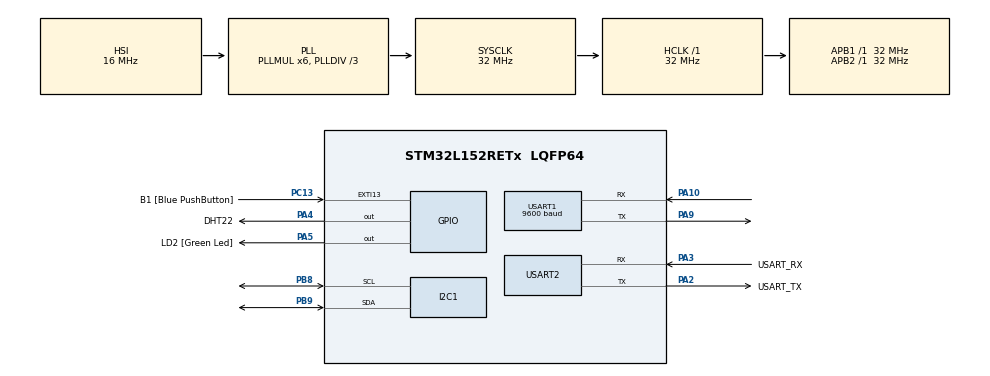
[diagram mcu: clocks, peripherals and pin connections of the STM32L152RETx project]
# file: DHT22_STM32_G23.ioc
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Mcu.Family=STM32L1
Mcu.Name=STM32L152RETx
Mcu.Package=LQFP64
NVIC.PriorityGroup=NVIC_PRIORITYGROUP_0
PA10.Mode=Asynchronous
PA10.Signal=USART1_RX
PA13.GPIO_Label=TMS
PA13.Mode=Serial_Wire
PA13.Signal=SYS_JTMS-SWDIO
PA14.GPIO_Label=TCK
PA14.Mode=Serial_Wire
PA14.Signal=SYS_JTCK-SWCLK
PA2.GPIO_Label=USART_TX
PA2.Mode=Asynchronous
PA2.Signal=USART2_TX
PA3.GPIO_Label=USART_RX
PA3.Mode=Asynchronous
PA3.Signal=USART2_RX
PA4.GPIO_Label=DHT22
PA4.Signal=GPIO_Output
PA5.GPIO_Label=LD2 [Green Led]
PA5.Signal=GPIO_Output
PA9.Mode=Asynchronous
PA9.Signal=USART1_TX
PB3.GPIO_Label=SWO
PB3.Signal=SYS_JTDO-TRACESWO
PB8.Mode=I2C
PB8.Signal=I2C1_SCL
PB9.Mode=I2C
PB9.Signal=I2C1_SDA
PC13-WKUP2.GPIO_Label=B1 [Blue PushButton]
PC13-WKUP2.Signal=GPXTI13
PC14-OSC32_IN.Mode=LSE-External-Oscillator
PC14-OSC32_IN.Signal=RCC_OSC32_IN
PC15-OSC32_OUT.Mode=LSE-External-Oscillator
PC15-OSC32_OUT.Signal=RCC_OSC32_OUT
PH0-OSC_IN.Mode=HSE-External-Oscillator
PH0-OSC_IN.Signal=RCC_OSC_IN
PH1-OSC_OUT.Mode=HSE-External-Oscillator
PH1-OSC_OUT.Signal=RCC_OSC_OUT
ProjectManager.HeapSize=0x200
ProjectManager.StackSize=0x400
ProjectManager.TargetToolchain=STM32CubeIDE
RCC.48MHZClocksFreq_Value=48000000
RCC.AHBFreq_Value=32000000
RCC.APB1Freq_Value=32000000
RCC.APB1TimFreq_Value=32000000
RCC.APB2Freq_Value=32000000
RCC.APB2TimFreq_Value=32000000
RCC.HCLKFreq_Value=32000000
RCC.HSE_VALUE=8000000
RCC.HSI_VALUE=16000000
RCC.MSI_VALUE=2097000
RCC.PLLDIV=RCC_PLL_DIV3
RCC.PLLMUL=RCC_PLL_MUL6
RCC.RTCClockSelectionVirtual=RCC_RTCCLKSOURCE_LSE
RCC.SYSCLKFreq_VALUE=32000000
RCC.SYSCLKSource=RCC_SYSCLKSOURCE_PLLCLK
RCC.USBOutput=48000000
RCC.VCOOutputFreq_Value=96000000
TIM2.Prescaler=32-1
USART1.BaudRate=9600
USART1.VirtualMode=VM_ASYNC
USART2.VirtualMode=VM_ASYNC
VP_TIM2_VS_ClockSourceINT.Mode=Internal
board=NUCLEO-L152RE

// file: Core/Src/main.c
/* USER CODE BEGIN Header */
/**
  ******************************************************************************
  * @file           : main.c
  * @brief          : Main program body
  ******************************************************************************
  * @attention
  *
  * Copyright (c) 2024 STMicroelectronics.
  * All rights reserved.
  *
  * This software is licensed under terms that can be found in the LICENSE file
  * in the root directory of this software component.
  * If no LICENSE file comes with this software, it is provided AS-IS.
  *
  ******************************************************************************
  */
/* USER CODE END Header */
#include "main.h"
#include "i2c.h"
#include "tim.h"
#include "usart.h"
#include "gpio.h"

/* USER CODE BEGIN Includes */
#include "calcule.h" // Inclusion de la bibliothèque pour la communication avec le capteur
#include "delay.h" // Inclusion de la bibliothèque pour les retards en microsecondes
#include<lib_lcd.h>
#include"stdio.h"
#include <string.h>

/* USER CODE END Includes */

/* USER CODE BEGIN PTD */
static rgb_lcd lcdData;

/* USER CODE END PTD */

/* USER CODE BEGIN PV */
float Temperature = 0, Humidite = 0; // Variables pour stocker la température et l'humidité
uint16_t RH = 0, TEMP = 0; // Variables pour les valeurs brutes du capteur
uint8_t dataH1;
uint8_t dataH2;
uint8_t dataT1;
uint8_t dataT2;
uint8_t SUM;
uint8_t check;
char bufRH[30]; // Pour stocker la valeur de l'humidité
char bufT[30]; // Pour stocker la valeur de la température
/* USER CODE END PV */

void SystemClock_Config(void);
/* USER CODE BEGIN PFP */
void UART_TransmitTemperature(float Temperature);
void UART_TransmitHummidity(float Humidite );
void UART_Init(void);
/* USER CODE END PFP */

/* USER CODE BEGIN 0 */

void UART_TransmitTemperature(float Temperature ) {
        sprintf(bufT, "Temperature: %.2f C\t", Temperature);
        HAL_UART_Transmit(&huart2, (uint8_t*)bufT, strlen(bufT), HAL_MAX_DELAY);
        //HAL_UART_Transmit(&huart1, (uint8_t*)bufT, strlen(bufT), HAL_MAX_DELAY);
    }
    void UART_TransmitHummidity(float Humidite ) {
            sprintf(bufRH, "Humidity: %.2f %%\r\n", Humidite);
            HAL_UART_Transmit(&huart2, (uint8_t*)bufRH, strlen(bufRH), HAL_MAX_DELAY);
          //  HAL_UART_Transmit(&huart1, (uint8_t*)bufRH, strlen(bufRH), HAL_MAX_DELAY);
        }
/* USER CODE END 0 */

int main(void)
{

  /* MCU Configuration--------------------------------------------------------*/

  /* Reset of all peripherals, Initializes the Flash interface and the Systick. */
  HAL_Init();

  /* Configure the system clock */
  SystemClock_Config();

  /* Initialize all configured peripherals */
  MX_GPIO_Init();
  MX_USART2_UART_Init();
  MX_TIM2_Init();
  MX_I2C1_Init();
  MX_USART1_UART_Init();
  /* USER CODE BEGIN 2 */
  lcd_init(&hi2c1, &lcdData); // Initialisation du LCD
   DWT_Delay_Init(); // Initialisation des retards

   lcd_position(&hi2c1,0,0); // Positionnement du curseur LCD
   lcd_print(&hi2c1,"Bonjour!!"); // Affichage d'un message sur le LCD
   reglagecouleur(0,0,255); // Réglage de la couleur

   HAL_Delay(3000); // Pause de 3 secondes

  /* USER CODE END 2 */

  /* Infinite loop */
  while (1)
  {

    /* USER CODE BEGIN 3 */
	        /*commence la communication avec le capteur*/
	        	  //HAL_TIM_Base_Start(&htim2); // Démarre le timer (commenté)
	        	  	  HAL_Delay(1000); // Attend 1 seconde
	        	  	  Data_Output(GPIOA, GPIO_PIN_4); // Configure la broche GPIOA_Pin_4 en mode sortie (info vers le capteur)
	        	  	  HAL_GPIO_WritePin(GPIOA, GPIO_PIN_4, GPIO_PIN_RESET); // Met la broche GPIOA_Pin_4 à l'état bas (remet à l'état bas)
	        	  	  DWT_Delay_us(1200); // Attend un délai de 1200 µs (signal de commande > 1ms)
	        	  	  HAL_GPIO_WritePin(GPIOA, GPIO_PIN_4, GPIO_PIN_SET); // Met la broche GPIOA_Pin_4 à l'état haut (état haut)
	        	  	  DWT_Delay_us(30); // Attend un délai de 30 µs (signal de commande)
	        	  	  Data_Input(GPIOA, GPIO_PIN_4); // Configure la broche GPIOA_Pin_4 en mode entrée (info vers le microcontrôleur)

	        	  	  /*commence la réception de données*/

	        	  	  while(!(HAL_GPIO_ReadPin(GPIOA, GPIO_PIN_4))); // Attend que la broche GPIOA_Pin_4 soit à l'état haut

	        	  	  for (int k=0;k<1000;k++) // Boucle pour attendre jusqu'à 1000 fois
	        	  	  {
	        	  		  if (HAL_GPIO_ReadPin (GPIOA, GPIO_PIN_4) == GPIO_PIN_RESET) // Vérifie si la broche GPIOA_Pin_4 est à l'état bas
	        	  		  {
	        	  	  	  	break; // Sort de la boucle si la condition est vraie
	        	  	  	  }
	        	  	  }

	        	  	  while(!(HAL_GPIO_ReadPin(GPIOA, GPIO_PIN_4))); // Attend que la broche GPIOA_Pin_4 soit à l'état haut
	        	  	  DWT_Delay_us(40); // Attend un délai de 40 µs

	        	  	  Read_data(&dataH1); // Lit les données du capteur (dans la bibliothèque HT.c)
	        	  	  Read_data(&dataH2);
	        	  	  Read_data(&dataT1);
	        	  	  Read_data(&dataT2);
	        	  	  Read_data(&SUM);

	        	  	  check = dataH1 + dataH2 + dataT1 + dataT2; // Calcule la somme des données pour vérification

	        	  	 if(check == (SUM)) // Vérifie si la somme est égale au checksum
	        	  	  {

	        	  	  RH = (dataH1<<8) | dataH2; // Calcule l'humidité
	        	  	  TEMP = (dataT1<<8) | dataT2; // Calcule la température

	        	  	  }

	        	  	  Humidite = RH / 10.0; // Calcule l'humidité finale
	        	  	  Temperature = TEMP / 10.0; // Calcule la température finale

	        	  	  HAL_GPIO_WritePin(GPIOA, GPIO_PIN_4, GPIO_PIN_SET); // Met la broche GPIOA_Pin_4 à l'état haut pour la prochaine lecture
	        	  	 clearlcd(); // Efface l'affichage LCD
	        	  		  	  sprintf(bufRH,"Humidite: %.1f", Humidite); // Formatage de l'humidité pour l'affichage
	        	  		  	  sprintf(bufT, "Temp.: %.1f C", Temperature); // Formatage de la température pour l'affichage
	        	  		  	 lcd_position(&hi2c1,1,0); // Positionne le curseur LCD
	        	  		  	  lcd_print(&hi2c1,bufRH); // Affiche l'humidité sur le LCD
	        	  		  	  lcd_print(&hi2c1,"%"); // Affiche le symbole "%" sur le LCD
	        	  		  	  lcd_position(&hi2c1,1,1); // Positionne le curseur LCD
	        	  		  	  lcd_print(&hi2c1,bufT); // Affiche la température sur le LCD
	        	  		  UART_TransmitTemperature( Temperature); // Transmet la température via UART
	        	  		 	  UART_TransmitHummidity( Humidite ); // Transmet l'humidité via UART
	    }
  /* USER CODE END 3 */
}

void SystemClock_Config(void)
{
  RCC_OscInitTypeDef RCC_OscInitStruct = {0};
  RCC_ClkInitTypeDef RCC_ClkInitStruct = {0};

  /** Configure the main internal regulator output voltage
  */
  __HAL_PWR_VOLTAGESCALING_CONFIG(PWR_REGULATOR_VOLTAGE_SCALE1);

  /** Initializes the RCC Oscillators according to the specified parameters
  * in the RCC_OscInitTypeDef structure.
  */
  RCC_OscInitStruct.OscillatorType = RCC_OSCILLATORTYPE_HSI;
  RCC_OscInitStruct.HSIState = RCC_HSI_ON;
  RCC_OscInitStruct.HSICalibrationValue = RCC_HSICALIBRATION_DEFAULT;
  RCC_OscInitStruct.PLL.PLLState = RCC_PLL_ON;
  RCC_OscInitStruct.PLL.PLLSource = RCC_PLLSOURCE_HSI;
  RCC_OscInitStruct.PLL.PLLMUL = RCC_PLL_MUL6;
  RCC_OscInitStruct.PLL.PLLDIV = RCC_PLL_DIV3;
  if (HAL_RCC_OscConfig(&RCC_OscInitStruct) != HAL_OK)
  {
    Error_Handler();
  }

  /** Initializes the CPU, AHB and APB buses clocks
  */
  RCC_ClkInitStruct.ClockType = RCC_CLOCKTYPE_HCLK|RCC_CLOCKTYPE_SYSCLK
                              |RCC_CLOCKTYPE_PCLK1|RCC_CLOCKTYPE_PCLK2;
  RCC_ClkInitStruct.SYSCLKSource = RCC_SYSCLKSOURCE_PLLCLK;
  RCC_ClkInitStruct.AHBCLKDivider = RCC_SYSCLK_DIV1;
  RCC_ClkInitStruct.APB1CLKDivider = RCC_HCLK_DIV1;
  RCC_ClkInitStruct.APB2CLKDivider = RCC_HCLK_DIV1;

  if (HAL_RCC_ClockConfig(&RCC_ClkInitStruct, FLASH_LATENCY_1) != HAL_OK)
  {
    Error_Handler();
  }
}

void Error_Handler(void)
{
  __disable_irq();
  while (1)
  {
  }
}
